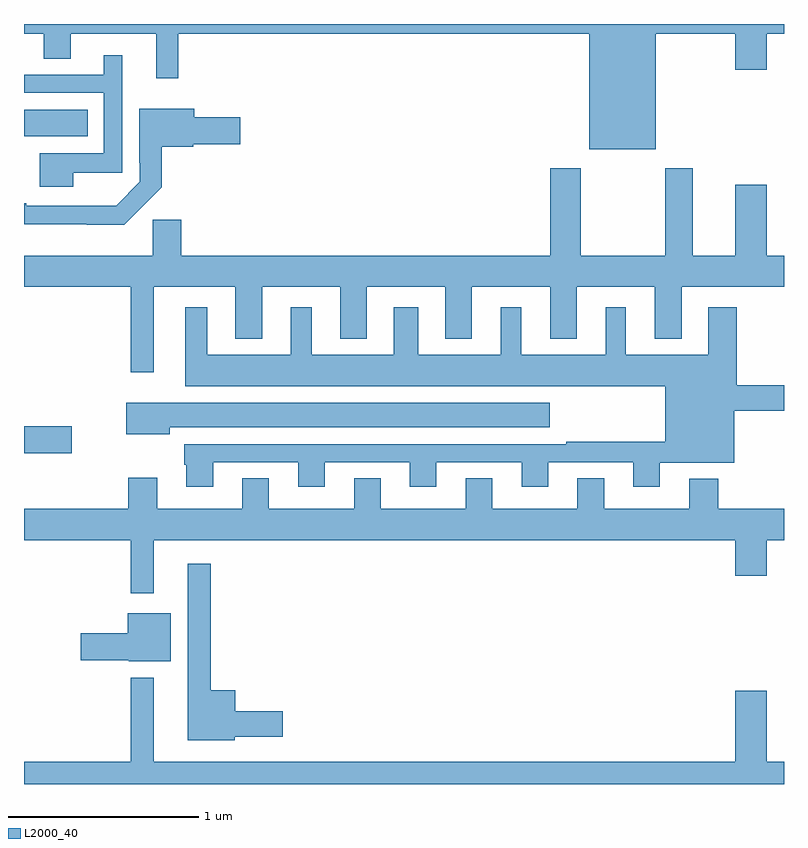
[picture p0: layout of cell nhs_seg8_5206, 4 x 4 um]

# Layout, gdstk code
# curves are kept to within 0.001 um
import gdstk
lib = gdstk.Library(unit=1e-6, precision=1e-09)
def R(c, l, rs):  # rectangles x0, y0, x1, y1
    for r in rs: c.add(gdstk.rectangle(r[:2], r[2:], *l))
def P(c, l, *ps):  # polygons
    for p in ps: c.add(gdstk.Polygon(p, *l))
L2000_40 = (2000, 40)

nhs_seg8_5206 = lib.new_cell('nhs_seg8_5206')
R(nhs_seg8_5206, L2000_40, [(425,1099.642,425.251,1099.784), (425,1101.308,425.336,1101.448)])
P(nhs_seg8_5206, L2000_40, [(428.326,1101.848),(428.744,1101.848),(428.744,1101.66),(428.908,1101.66),(428.908,1101.848),(429,1101.848),(429,1101.9),(425,1101.9),(425,1101.848),(425.105,1101.848),(425.105,1101.718),(425.245,1101.718),(425.245,1101.848),(425.696,1101.848),(425.696,1101.615),(425.813,1101.615),(425.813,1101.848),(427.976,1101.848),(427.976,1101.242),(428.326,1101.242)],
  [(425.26,1101.116),(425.517,1101.116),(425.517,1101.736),(425.42,1101.736),(425.42,1101.633),(425,1101.633),(425,1101.537),(425.421,1101.537),(425.421,1101.22),(425.084,1101.22),(425.084,1101.044),(425.26,1101.044)],
  [(425.726,1101.041),(425.726,1101.253),(425.892,1101.253),(425.892,1101.266),(426.139,1101.266),(426.139,1101.408),(425.896,1101.408),(425.896,1101.454),(425.607,1101.454),(425.607,1101.169),(425.61,1101.169),(425.61,1101.069),(425.485,1100.944),(425.011,1100.943),(425.011,1100.956),(425,1100.956),(425,1100.846),(425.329,1100.846),(425.329,1100.844),(425.528,1100.844)],
  [(427.929,1101.142),(427.769,1101.142),(427.769,1100.68),(425.828,1100.68),(425.828,1100.871),(425.677,1100.871),(425.677,1100.68),(425,1100.68),(425,1100.516),(425.562,1100.516),(425.562,1100.067),(425.683,1100.067),(425.683,1100.516),(426.113,1100.516),(426.113,1100.243),(426.253,1100.243),(426.253,1100.516),(426.665,1100.516),(426.665,1100.243),(426.805,1100.243),(426.805,1100.516),(427.217,1100.516),(427.217,1100.243),(427.357,1100.243),(427.357,1100.516),(427.769,1100.516),(427.769,1100.243),(427.909,1100.243),(427.909,1100.516),(428.321,1100.516),(428.321,1100.243),(428.461,1100.243),(428.461,1100.516),(429,1100.516),(429,1100.68),(428.908,1100.68),(428.908,1101.055),(428.744,1101.055),(428.744,1100.68),(428.521,1100.68),(428.521,1101.142),(428.374,1101.142),(428.374,1100.68),(427.929,1100.68)],
  [(425.995,1099.593),(426.443,1099.593),(426.443,1099.464),(426.583,1099.464),(426.583,1099.593),(427.031,1099.593),(427.031,1099.464),(427.171,1099.464),(427.171,1099.593),(427.619,1099.593),(427.619,1099.464),(427.759,1099.464),(427.759,1099.593),(428.207,1099.593),(428.207,1099.464),(428.347,1099.464),(428.347,1099.592),(428.737,1099.592),(428.737,1099.864),(429,1099.864),(429,1100),(428.75,1100),(428.75,1100.41),(428.6,1100.41),(428.6,1100.158),(428.167,1100.158),(428.167,1100.41),(428.063,1100.41),(428.063,1100.158),(427.618,1100.158),(427.618,1100.41),(427.508,1100.41),(427.508,1100.158),(427.075,1100.158),(427.075,1100.41),(426.947,1100.41),(426.947,1100.158),(426.514,1100.158),(426.514,1100.41),(426.404,1100.41),(426.404,1100.158),(425.965,1100.158),(425.965,1100.41),(425.849,1100.41),(425.849,1099.994),(428.375,1099.994),(428.375,1099.702),(427.855,1099.702),(427.855,1099.689),(425.843,1099.689),(425.843,1099.581),(425.855,1099.581),(425.855,1099.464),(425.995,1099.464)],
  [(425.767,1099.778),(427.768,1099.778),(427.768,1099.906),(425.538,1099.906),(425.538,1099.742),(425.767,1099.742)],
  [(425.683,1099.184),(428.744,1099.184),(428.744,1098.996),(428.908,1098.996),(428.908,1099.184),(429,1099.184),(429,1099.348),(428.654,1099.348),(428.654,1099.507),(428.501,1099.507),(428.501,1099.348),(428.053,1099.348),(428.053,1099.508),(427.913,1099.508),(427.913,1099.348),(427.465,1099.348),(427.465,1099.508),(427.325,1099.508),(427.325,1099.348),(426.877,1099.348),(426.877,1099.508),(426.737,1099.508),(426.737,1099.348),(426.289,1099.348),(426.289,1099.508),(426.149,1099.508),(426.149,1099.348),(425.701,1099.348),(425.701,1099.513),(425.549,1099.513),(425.549,1099.348),(425,1099.348),(425,1099.184),(425.562,1099.184),(425.562,1098.903),(425.683,1098.903)],
  [(426.108,1098.149),(426.361,1098.149),(426.361,1098.284),(426.112,1098.284),(426.112,1098.394),(425.983,1098.394),(425.983,1099.06),(425.861,1099.06),(425.861,1098.131),(426.108,1098.131)],
  [(425.773,1098.799),(425.546,1098.799),(425.546,1098.693),(425.298,1098.693),(425.298,1098.551),(425.55,1098.551),(425.55,1098.545),(425.773,1098.545)],
  [(429,1098.016),(428.908,1098.016),(428.908,1098.391),(428.744,1098.391),(428.744,1098.016),(425.683,1098.016),(425.683,1098.46),(425.562,1098.46),(425.562,1098.016),(425,1098.016),(425,1097.9),(429,1097.9)])

lib.write_gds('nhs_seg8_5206.gds')
